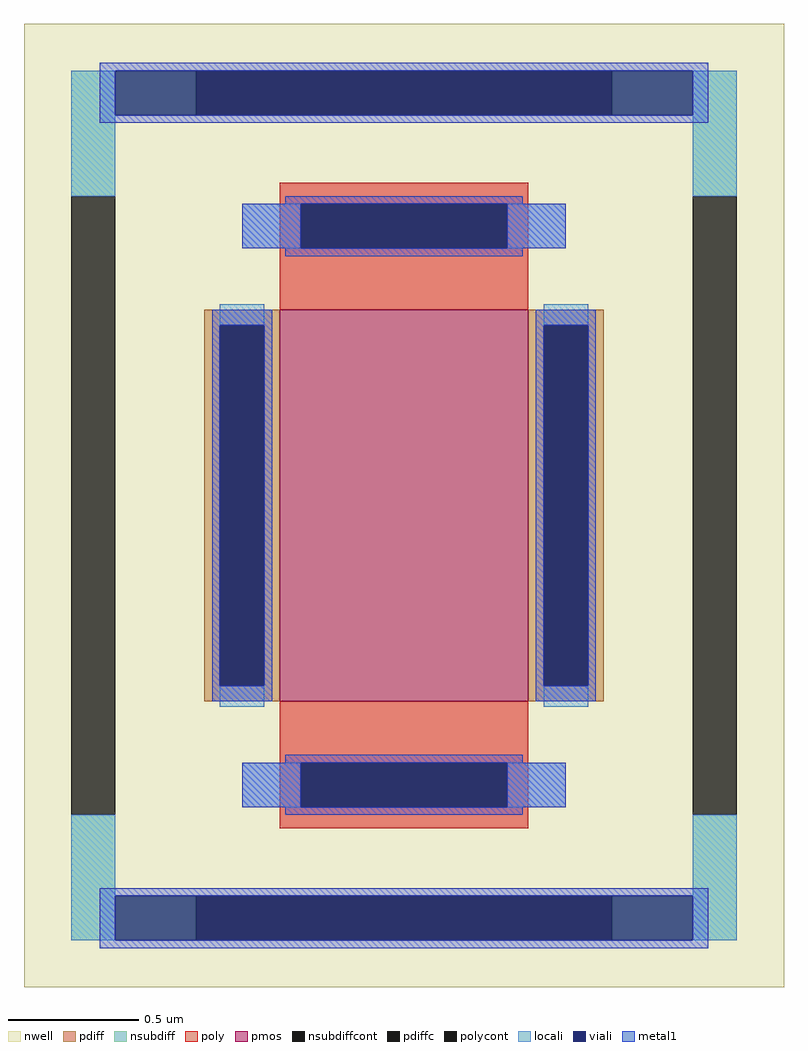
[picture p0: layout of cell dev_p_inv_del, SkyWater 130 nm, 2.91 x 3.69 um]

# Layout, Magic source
magic
tech sky130A
magscale 1 2
<< nwell >>
rect -291 -369 291 369
<< pmos >>
rect -95 -150 95 150
<< pdiff >>
rect -153 138 -95 150
rect -153 -138 -141 138
rect -107 -138 -95 138
rect -153 -150 -95 -138
rect 95 138 153 150
rect 95 -138 107 138
rect 141 -138 153 138
rect 95 -150 153 -138
<< pdiffc >>
rect -141 -138 -107 138
rect 107 -138 141 138
<< nsubdiff >>
rect -255 299 -159 333
rect 159 299 255 333
rect -255 237 -221 299
rect 221 237 255 299
rect -255 -299 -221 -237
rect 221 -299 255 -237
rect -255 -333 -159 -299
rect 159 -333 255 -299
<< nsubdiffcont >>
rect -159 299 159 333
rect -255 -237 -221 237
rect 221 -237 255 237
rect -159 -333 159 -299
<< poly >>
rect -95 231 95 247
rect -95 197 -79 231
rect 79 197 95 231
rect -95 150 95 197
rect -95 -197 95 -150
rect -95 -231 -79 -197
rect 79 -231 95 -197
rect -95 -247 95 -231
<< polycont >>
rect -79 197 79 231
rect -79 -231 79 -197
<< locali >>
rect -255 237 -221 333
rect 221 237 255 333
rect -124 197 -79 231
rect 79 197 124 231
rect -141 138 -107 154
rect -141 -154 -107 -138
rect 107 138 141 154
rect 107 -154 141 -138
rect -124 -231 -79 -197
rect 79 -231 124 -197
rect -255 -333 -221 -237
rect 221 -333 255 -237
<< viali >>
rect -221 299 -159 333
rect -159 299 159 333
rect 159 299 221 333
rect -79 197 79 231
rect -141 -138 -107 138
rect 107 -138 141 138
rect -79 -231 79 -197
rect -221 -333 -159 -299
rect -159 -333 159 -299
rect 159 -333 221 -299
<< metal1 >>
rect -233 333 233 339
rect -233 299 -221 333
rect 221 299 233 333
rect -233 293 233 299
rect -91 231 91 237
rect -124 197 -79 231
rect 79 197 124 231
rect -91 191 91 197
rect -147 138 -101 150
rect -147 -138 -141 138
rect -107 -138 -101 138
rect -147 -150 -101 -138
rect 101 138 147 150
rect 101 -138 107 138
rect 141 -138 147 138
rect 101 -150 147 -138
rect -91 -197 91 -191
rect -124 -231 -79 -197
rect 79 -231 124 -197
rect -91 -237 91 -231
rect -233 -299 233 -293
rect -233 -333 -221 -299
rect 221 -333 233 -299
rect -233 -339 233 -333
<< properties >>
string FIXED_BBOX -238 -316 238 316
<< end >>
